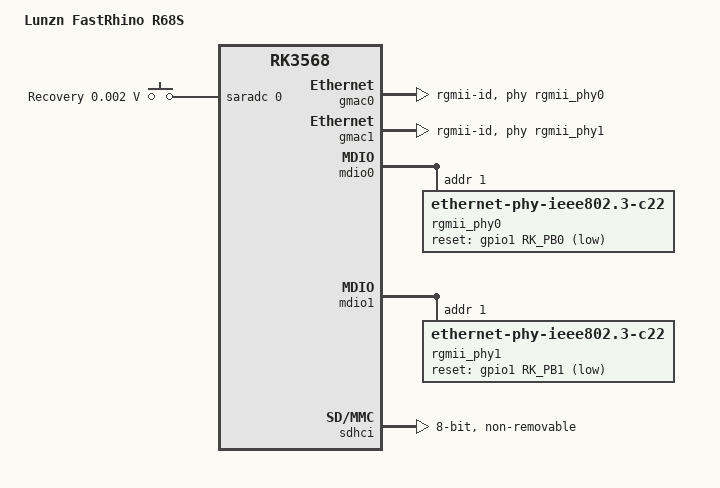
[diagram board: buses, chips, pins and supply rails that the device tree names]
// SPDX-License-Identifier: GPL-2.0-or-later OR MIT

#include "rk3568-fastrhino-r66s.dtsi"

/ {
	model = "Lunzn FastRhino R68S";
	compatible = "lunzn,fastrhino-r68s", "rockchip,rk3568";

	aliases {
		ethernet0 = &gmac0;
		ethernet1 = &gmac1;
		mmc0 = &sdhci;
	};

	adc-keys {
		compatible = "adc-keys";
		io-channels = <&saradc 0>;
		io-channel-names = "buttons";
		keyup-threshold-microvolt = <1800000>;

		button-recovery {
			label = "Recovery";
			linux,code = <KEY_VENDOR>;
			press-threshold-microvolt = <1750>;
		};
	};
};

&gmac0 {
	assigned-clocks = <&cru SCLK_GMAC0_RX_TX>, <&cru SCLK_GMAC0>;
	assigned-clock-parents = <&cru SCLK_GMAC0_RGMII_SPEED>;
	assigned-clock-rates = <0>, <125000000>;
	clock_in_out = "output";
	phy-handle = <&rgmii_phy0>;
	phy-mode = "rgmii-id";
	pinctrl-names = "default";
	pinctrl-0 = <&gmac0_miim
		     &gmac0_tx_bus2
		     &gmac0_rx_bus2
		     &gmac0_rgmii_clk
		     &gmac0_rgmii_bus>;
	status = "okay";
};

&gmac1 {
	assigned-clocks = <&cru SCLK_GMAC1_RX_TX>, <&cru SCLK_GMAC1>;
	assigned-clock-parents = <&cru SCLK_GMAC1_RGMII_SPEED>;
	assigned-clock-rates = <0>, <125000000>;
	clock_in_out = "output";
	phy-handle = <&rgmii_phy1>;
	phy-mode = "rgmii-id";
	pinctrl-names = "default";
	pinctrl-0 = <&gmac1m1_miim
		     &gmac1m1_tx_bus2
		     &gmac1m1_rx_bus2
		     &gmac1m1_rgmii_clk
		     &gmac1m1_rgmii_bus>;
	status = "okay";
};

&mdio0 {
	rgmii_phy0: ethernet-phy@1 {
		compatible = "ethernet-phy-ieee802.3-c22";
		reg = <0x1>;
		pinctrl-0 = <&eth_phy0_reset_pin>;
		pinctrl-names = "default";
		reset-assert-us = <20000>;
		reset-deassert-us = <100000>;
		reset-gpios = <&gpio1 RK_PB0 GPIO_ACTIVE_LOW>;
	};
};

&mdio1 {
	rgmii_phy1: ethernet-phy@1 {
		compatible = "ethernet-phy-ieee802.3-c22";
		reg = <0x1>;
		pinctrl-0 = <&eth_phy1_reset_pin>;
		pinctrl-names = "default";
		reset-assert-us = <20000>;
		reset-deassert-us = <100000>;
		reset-gpios = <&gpio1 RK_PB1 GPIO_ACTIVE_LOW>;
	};
};

&pinctrl {
	gmac0 {
		eth_phy0_reset_pin: eth-phy0-reset-pin {
			rockchip,pins = <1 RK_PB0 RK_FUNC_GPIO &pcfg_pull_up>;
		};
	};

	gmac1 {
		eth_phy1_reset_pin: eth-phy1-reset-pin {
			rockchip,pins = <1 RK_PB1 RK_FUNC_GPIO &pcfg_pull_up>;
		};
	};
};

&pmu_io_domains {
	vccio3-supply = <&vcc_3v3>;
};

&sdhci {
	bus-width = <8>;
	max-frequency = <200000000>;
	non-removable;
	pinctrl-names = "default";
	pinctrl-0 = <&emmc_bus8 &emmc_clk &emmc_cmd &emmc_datastrobe>;
	status = "okay";
};
